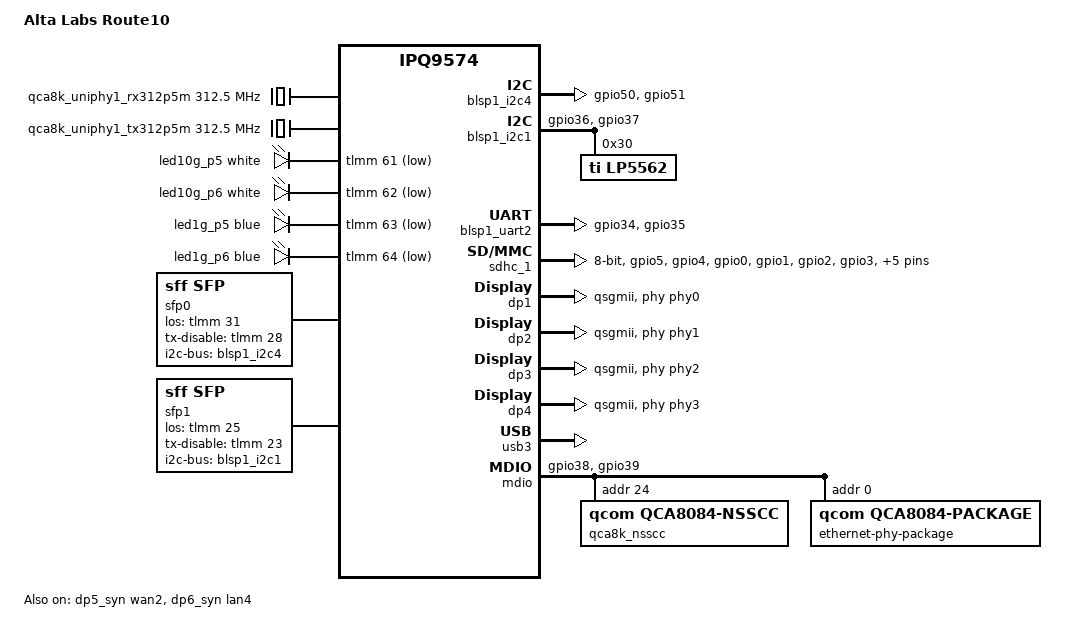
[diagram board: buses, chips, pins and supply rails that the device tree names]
// SPDX-License-Identifier: (GPL-2.0+ OR BSD-3-Clause)

/dts-v1/;

#include "ipq9574.dtsi"
#include "ipq9574-ess.dtsi"

#include <dt-bindings/clock/qcom,ipq-cmn-pll.h>
#include <dt-bindings/gpio/gpio.h>
#include <dt-bindings/leds/common.h>
#include <dt-bindings/clock/qcom,qca8k-nsscc.h>
#include <dt-bindings/net/qcom,qca808x.h>
#include <dt-bindings/reset/qcom,qca8k-nsscc.h>

/ {
	model = "Alta Labs Route10";
	compatible = "alta,route10", "qcom,ipq9574";

	aliases {
		serial0 = &blsp1_uart2;
	};

	chosen {
		stdout-path = "serial0:115200n8";
	};

	qca8k_uniphy1_rx312p5m: qca8k-uniphy1-rx312p5m {
		compatible = "fixed-clock";
		clock-frequency = <312500000>;
		#clock-cells = <0>;
	};

	qca8k_uniphy1_tx312p5m: qca8k-uniphy1-tx312p5m {
		compatible = "fixed-clock";
		clock-frequency = <312500000>;
		#clock-cells = <0>;
	};

	leds {
		compatible = "gpio-leds";
		pinctrl-0 = <&sfp_leds>;
		pinctrl-names = "default";

		led-0 {
			color = <LED_COLOR_ID_WHITE>;
			label = "led10g_p5";
			gpios = <&tlmm 61 GPIO_ACTIVE_LOW>;
		};
	
		led-2 {
			color = <LED_COLOR_ID_WHITE>;
			label = "led10g_p6";
			gpios = <&tlmm 62 GPIO_ACTIVE_LOW>;
		};

		led-3 {
			color = <LED_COLOR_ID_BLUE>;
			label = "led1g_p5";
			gpios = <&tlmm 63 GPIO_ACTIVE_LOW>;
		};
	
		led-4 {
			color = <LED_COLOR_ID_BLUE>;
			label = "led1g_p6";
			gpios = <&tlmm 64 GPIO_ACTIVE_LOW>;
		};
	};

	sfp0: sfp-0 {
		compatible = "sff,sfp";
		pinctrl-0 = <&sfp_0_pins>;
		pinctrl-names = "default";
		i2c-bus = <&blsp1_i2c4>;
		los-gpios = <&tlmm 31 GPIO_ACTIVE_HIGH>;
		tx-disable-gpios = <&tlmm 28 GPIO_ACTIVE_HIGH>;
	};

	sfp1: sfp-1 {
		compatible = "sff,sfp";
		pinctrl-0 = <&sfp_1_pins>;
		pinctrl-names = "default";
		i2c-bus = <&blsp1_i2c1>;
		los-gpios = <&tlmm 25 GPIO_ACTIVE_HIGH>;
		tx-disable-gpios = <&tlmm 23 GPIO_ACTIVE_HIGH>;
	};
};

&blsp1_i2c4{
	pinctrl-0 = <&blsp4_i2c_pins>;
	pinctrl-names = "default";
	status = "okay";
};

&blsp1_i2c1 {
	pinctrl-0 = <&blsp1_i2c1_pins>;
	pinctrl-names = "default";
	status = "okay";
	
	lp5562@30 {
		#address-cells = <1>;
		#size-cells = <0>;
		compatible = "ti,lp5562";
		reg = <0x30>;
		clock-mode = /bits/8 <2>;

		led@0 {
			reg = <0>;
			chan-name = "red";
			led-cur = /bits/ 8 <0x20>;
			max-cur = /bits/ 8 <0x60>;
			color = <LED_COLOR_ID_RED>;
		};
	
		led@1 {
			reg = <1>;
			chan-name = "green";
			led-cur = /bits/ 8 <0x20>;
			max-cur = /bits/ 8 <0x60>;
			color = <LED_COLOR_ID_GREEN>;
		};

		led@2 {
			reg = <2>;
			chan-name = "blue";
			led-cur = /bits/ 8 <0x20>;
			max-cur = /bits/ 8 <0x60>;
			color = <LED_COLOR_ID_GREEN>;
		};

		led@3 {
			reg = <3>;
			chan-name = "white";
			led-cur = /bits/ 8 <0x20>;
			max-cur = /bits/ 8 <0x60>;
			color = <LED_COLOR_ID_WHITE>;
		};
	};
};

&blsp1_uart2 {
	pinctrl-0 = <&blsp1_uart2_pins>;
	pinctrl-names = "default";
	status = "okay";
};

&sdhc_1 {
	bus-width = <8>;
	max-frequency = <384000000>;
	mmc-ddr-1_8v;
	mmc-hs200-1_8v;
	mmc-hs400-1_8v;
	mmc-hs400-enhanced-strobe;
	pinctrl-0 = <&emmc_pins>;
	pinctrl-names = "default";
	status = "okay";
};
/*
&qcom_ppe {
	ethernet-ports {
		#address-cells = <1>;
		#size-cells = <0>;

		port@1 {
			reg = <1>;
			phy-mode = "qsgmii";
			label = "wan0";
			phy-handle = <&phy0>;
			pcs-handle = <&pcsuniphy0_ch0>;
			clocks = <&nsscc NSS_CC_PORT1_MAC_CLK>,
				 <&nsscc NSS_CC_PORT1_RX_CLK>,
				 <&nsscc NSS_CC_PORT1_TX_CLK>;
			clock-names = "port_mac",
				"port_rx",
				"port_tx";
			resets = <&nsscc PORT1_MAC_ARES>,
				 <&nsscc PORT1_RX_ARES>,
				 <&nsscc PORT1_TX_ARES>;
			reset-names = "port_mac",
				"port_rx",
				"port_tx";
		};
		port@2 {
			reg = <2>;
			phy-mode = "qsgmii";
			label = "lan1";
			phy-handle = <&phy1>;
			pcs-handle = <&pcsuniphy0_ch1>;
			clocks = <&nsscc NSS_CC_PORT2_MAC_CLK>,
				 <&nsscc NSS_CC_PORT2_RX_CLK>,
				 <&nsscc NSS_CC_PORT2_TX_CLK>;
			clock-names = "port_mac",
				"port_rx",
				"port_tx";
			resets = <&nsscc PORT2_MAC_ARES>,
				 <&nsscc PORT2_RX_ARES>,
				 <&nsscc PORT2_TX_ARES>;
			reset-names = "port_mac",
				"port_rx",
				"port_tx";
		};
		port@3 {
			reg = <3>;
			phy-mode = "qsgmii";
			label = "lan2";
			phy-handle = <&phy2>;
			pcs-handle = <&pcsuniphy0_ch2>;
			clocks = <&nsscc NSS_CC_PORT3_MAC_CLK>,
				 <&nsscc NSS_CC_PORT3_RX_CLK>,
				 <&nsscc NSS_CC_PORT3_TX_CLK>;
			clock-names = "port_mac",
				"port_rx",
				"port_tx";
			resets = <&nsscc PORT3_MAC_ARES>,
				 <&nsscc PORT3_RX_ARES>,
				 <&nsscc PORT3_TX_ARES>;
			reset-names = "port_mac",
				"port_rx",
				"port_tx";
		};
		port@4 {
			reg = <4>;
			phy-mode = "qsgmii";
			label = "lan3";
			phy-handle = <&phy3>;
			pcs-handle = <&pcsuniphy0_ch3>;
			clocks = <&nsscc NSS_CC_PORT4_MAC_CLK>,
				 <&nsscc NSS_CC_PORT4_RX_CLK>,
				 <&nsscc NSS_CC_PORT4_TX_CLK>;
			clock-names = "port_mac",
				"port_rx",
				"port_tx";
			resets = <&nsscc PORT4_MAC_ARES>,
				 <&nsscc PORT4_RX_ARES>,
				 <&nsscc PORT4_TX_ARES>;
			reset-names = "port_mac",
				"port_rx",
				"port_tx";
		};

		port@5 {
			reg = <5>;
			phy-mode = "10gbase-r";
			managed = "in-band-status";
			label = "wan1";
			sfp = <&sfp0>;
			pcs-handle = <&pcsuniphy1_ch0>;
			local-mac-address = [00 00 00 00 00 00];
			clocks = <&nsscc NSS_CC_PORT5_MAC_CLK>,
				 <&nsscc NSS_CC_PORT5_RX_CLK>,
				 <&nsscc NSS_CC_PORT5_TX_CLK>;
			clock-names = "port_mac",
				"port_rx",
				"port_tx";
			resets = <&nsscc PORT5_MAC_ARES>,
				 <&nsscc PORT5_RX_ARES>,
				<&nsscc PORT5_TX_ARES>;
			reset-names = "port_mac",
				"port_rx",
				"port_tx";
		};

		port@6 {
			reg = <6>;
			phy-mode = "10gbase-r";
			managed = "in-band-status";
			label = "lan4";
			sfp = <&sfp1>;
			pcs-handle = <&pcsuniphy2_ch0>;
			local-mac-address = [00 00 00 00 00 00];
			clocks = <&nsscc NSS_CC_PORT6_MAC_CLK>,
				 <&nsscc NSS_CC_PORT6_RX_CLK>,
				 <&nsscc NSS_CC_PORT6_TX_CLK>;
			clock-names = "port_mac",
				"port_rx",
				"port_tx";
			resets = <&nsscc PORT6_MAC_ARES>,
				 <&nsscc PORT6_RX_ARES>,
				 <&nsscc PORT6_TX_ARES>;
			reset-names = "port_mac",
				"port_rx",
				"port_tx";
		};
	};
};
*/

&dp1 {
	status = "okay";
	qcom,phy-mdio-addr = <1>;
	phy-mode = "qsgmii";
	phy-handle = <&phy0>;
	label = "wan";
};

&dp2 {
	status = "okay";
	qcom,phy-mdio-addr = <2>;
	phy-mode = "qsgmii";
	phy-handle = <&phy1>;
	label = "lan1";
};

&dp3 {
	status = "okay";
	qcom,phy-mdio-addr = <3>;
	phy-mode = "qsgmii";
	phy-handle = <&phy2>;
	label = "lan2";
};

&dp4 {
	status = "okay";
	qcom,phy-mdio-addr = <4>;
	phy-mode = "qsgmii";
	phy-handle = <&phy3>;
	label = "lan3";
};

&dp5_syn {
	status = "okay";
	qcom,phy-mdio-addr = <5>;
	phy-handle = <&physfp1>;
	label = "wan2";
};

&dp6_syn {
	status = "okay";
	qcom,phy-mdio-addr = <6>;
	phy-handle = <&physfp2>;
	label = "lan4";
};

&edma {
	status = "okay";
};

&usb3 {
	status = "okay";
};

&ess_instance {
	tdm_mode = <0x00>;
	num_devices = <0x1>;
	ess-switch@3a000000 {
		tdm_mode = <0x00>;
		switch_mac_mode0 = <0x15>;
		switch_mac_mode1 = <0x0e>;
		switch_mac_mode2 = <0x0e>;
		aquantia_gpio = <0x24>;
		aquantia_gpio_cnt = <0x01>;
		aquantia_port = <0x04 0x05>;
		aquantia_port_cnt = <0x02>;
		mdc_mdio_gpio = <0x26 0x27>;
		qca808x_gpio = <0x3c>;
		qca808x_gpio_cnt = <0x01>;
		sfp_port = <0x04 0x05>;
		sfp_port_cnt = <0x02>;

		qcom,port_phyinfo {
			port@1 {
				port_id = <1>;
				phy_address = <1>;
				ethernet-phy-ieee802.3-c45;
			};
			port@2 {
				port_id = <2>;
				phy_address = <2>;
				ethernet-phy-ieee802.3-c45;
			};
			port@3 {
				port_id = <3>;
				phy_address = <3>;
				ethernet-phy-ieee802.3-c45;
			};
			port@4 {
				port_id = <4>;
				phy_address = <4>;
				ethernet-phy-ieee802.3-c45;
			};
			physfp1: port@5 {
				port_id = <5>;
				phy_address = <5>;
				media-type = "sfp";
			};
			physfp2: port@6 {
				port_id = <6>;
				phy_address = <6>;
				media-type = "sfp";
			};
		};
	};
};

&mdio {
	status = "okay";
	pinctrl-0 = <&mdio_pins>;
	pinctrl-names = "default";
	phy-reset-gpio = <&tlmm 60 0>;
	
	qca8k_nsscc: clock-controller@18 {
		compatible = "qcom,qca8084-nsscc";
			reg = <0x18>;
/*			clocks = <&cmn_pll ETH0_50MHZ_CLK>,
				<0>,
				<0>,
				<0>,
				<0>,
				<&qca8k_uniphy1_rx312p5m>,
				<&qca8k_uniphy1_tx312p5m>;*/
			#clock-cells = <1>;
			#reset-cells = <1>;
			#power-domain-cells = <1>;
	};

	ethernet-phy-package@0 {
		#address-cells = <1>;
		#size-cells = <0>;
		compatible = "qcom,qca8084-package";
		reg = <0>;
		clocks = <&qca8k_nsscc NSS_CC_APB_BRIDGE_CLK>,
			 <&qca8k_nsscc NSS_CC_AHB_CLK>,
			 <&qca8k_nsscc NSS_CC_SEC_CTRL_AHB_CLK>,
			 <&qca8k_nsscc NSS_CC_TLMM_CLK>,
			 <&qca8k_nsscc NSS_CC_TLMM_AHB_CLK>,
			 <&qca8k_nsscc NSS_CC_CNOC_AHB_CLK>,
			 <&qca8k_nsscc NSS_CC_MDIO_AHB_CLK>;
		clock-names = "apb_bridge",
			"ahb",
			"sec_ctrl_ahb",
			"tlmm",
			"tlmm_ahb",
			"cnoc_ahb",
			"mdio_ahb";
		resets = <&qca8k_nsscc NSS_CC_GEPHY_FULL_ARES>;
		com,phy-addr-fixup = <1 2 3 4 5 6 7>;

		qcom,package-mode = <QCA808X_PCS1_10G_QXGMII_PCS0_UNUNSED>;

		phy0: ethernet-phy@1 {
			compatible = "ethernet-phy-id004d.d101", "ethernet-phy-ieee802.3-c22";
			reg = <1>;
			clocks = <&qca8k_nsscc NSS_CC_GEPHY0_SYS_CLK>;
			resets = <&qca8k_nsscc NSS_CC_GEPHY0_SYS_ARES>;
		};

		phy1: ethernet-phy@2 {
			compatible = "ethernet-phy-id004d.d101", "ethernet-phy-ieee802.3-c22";
			reg = <2>;
			clocks = <&qca8k_nsscc NSS_CC_GEPHY1_SYS_CLK>;
			resets = <&qca8k_nsscc NSS_CC_GEPHY1_SYS_ARES>;
		};

		phy2: ethernet-phy@3 {
			compatible = "ethernet-phy-id004d.d101", "ethernet-phy-ieee802.3-c22";
			reg = <3>;
			clocks = <&qca8k_nsscc NSS_CC_GEPHY2_SYS_CLK>;
			resets = <&qca8k_nsscc NSS_CC_GEPHY2_SYS_ARES>;
		};

		phy3: ethernet-phy@4 {
			compatible = "ethernet-phy-id004d.d101", "ethernet-phy-ieee802.3-c22";
			reg = <4>;
			clocks = <&qca8k_nsscc NSS_CC_GEPHY3_SYS_CLK>;
			resets = <&qca8k_nsscc NSS_CC_GEPHY3_SYS_ARES>;
		};
	};
};

&sleep_clk {
	clock-frequency = <32000>;
};

&tlmm {
	blsp1_i2c1_pins: blsp1-i2c1-pins {
		pins = "gpio36", "gpio37";
		function = "blsp1_i2c";
		drive-strength = <8>;
		bias-disable;
	};

	blsp4_i2c_pins: blsp4-i2c-pins {
		pins = "gpio50", "gpio51";
		function = "blsp4_i2c";
		drive-strength = <8>;
		bias-disable;
	};

	blsp1_uart2_pins: blsp1_uart2_pinmux {
		pins = "gpio34", "gpio35";
		function = "blsp2_uart";
		drive-strength = <8>;
		bias-disable;
	};
	
	emmc_pins: emmc_pins {
		clk-pins {
			pins = "gpio5";
			function = "sdc_clk";
			drive-strength = <8>;
			bias-disable;
		};
		cmd-pins {
			pins = "gpio4";
			function = "sdc_cmd";
			drive-strength = <8>;
			bias-pull-up;
		};
		data-pins {
			pins = "gpio0", "gpio1", "gpio2",
				"gpio3", "gpio6", "gpio7",
				"gpio8", "gpio9";
			function = "sdc_data";
			drive-strength = <8>;
			bias-pull-up;
		};
		rclk-pins {
			pins = "gpio10";
			function = "sdc_rclk";
			drive-strength = <8>;
			bias-pull-down;
		};
	};
	
	sfp_leds: sfp_leds_pinmux {
		led_en {
			pins = "gpio43";
			function = "gpio";
			drive-strength = <2>;
			bias-pull-down;
			output-low;
		};

		sfp_10g_p5 {
			pins = "gpio61";
			function = "gpio";
			drive-strength = <8>;
			bias-pull-up;
		};

		sfp_10g_p6 {
			pins = "gpio62";
			function = "gpio";
			drive-strength = <8>;
			bias-pull-up;
		};

		sfp_1g_p5 {
			pins = "gpio63";
			function = "gpio";
			drive-strength = <8>;
			bias-pull-up;
		};
		
		sfp_1g_p6 {
			pins = "gpio64";
			function = "gpio";
			drive-strength = <8>;
			bias-pull-up;
		};
	};

	sfp_0_pins: sfp_0_pinmux {
		tx_disable_p5 {
			pins = "gpio28";
			function = "gpio";
			drive-strength = <8>;
			bias-pull-down;
		};

		los_gpio_p5 {
			pins = "gpio31";
			function = "gpio";
			drive-strength = <8>;
			bias-disable;
		};
	};
	
	sfp_1_pins: sfp_1_pinmux {
		tx_disable_p6 {
			pins = "gpio23";
			function = "gpio";
			drive-strength = <8>;
			bias-pull-down;
		};

		los_gpio_p6 {
			pins = "gpio25";
			function = "gpio";
			drive-strength = <8>;
			bias-disable;
		};
	};

	mdio_pins: mdio-default-state {
		mdc {
			pins = "gpio38";
			function = "mdc";
			drive-strength = <8>;
			bias-disable;
		};
		mdio {
			pins = "gpio39";
			function = "mdio";
			drive-strength = <8>;
			bias-pull-up;
		};
	};
};

/*
 * The bootstrap pins for the board select the XO clock frequency,
 * which automatically enables the right dividers to ensure the
 * reference clock output from WiFi is 48 MHZ.
 */
&ref_48mhz_clk {
	clock-div = <1>;
	clock-mult = <1>;
};

/*
 * The frequency of xo_board_clk is fixed to 24 MHZ, which is routed
 * from WiFi output clock 48 MHZ divided by 2.
 */
&xo_board_clk {
	clock-div = <2>;
	clock-mult = <1>;
};

&xo_clk {
	clock-frequency = <48000000>;
};
